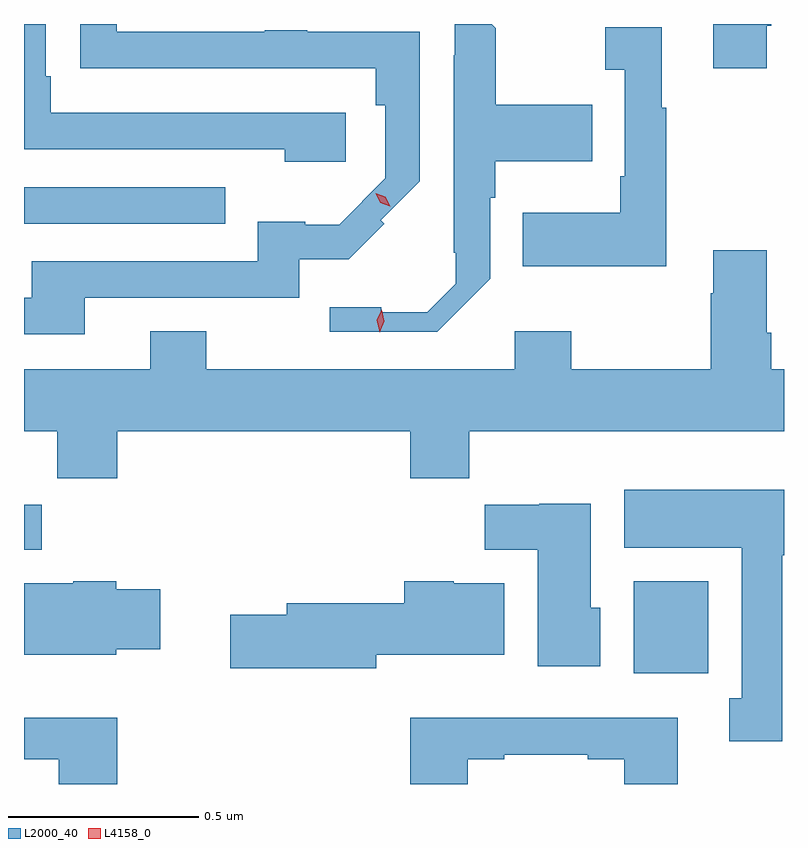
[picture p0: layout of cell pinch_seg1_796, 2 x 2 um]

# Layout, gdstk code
import gdstk
lib = gdstk.Library(unit=1e-6, precision=1e-09)
def R(c, l, rs):  # rectangles x0, y0, x1, y1
    for r in rs: c.add(gdstk.rectangle(r[:2], r[2:], *l))
def P(c, l, *ps):  # polygons
    for p in ps: c.add(gdstk.Polygon(p, *l))
L2000_40 = (2000, 40)
L4158_0 = (4158, 0)

pinch_seg1_796 = lib.new_cell('pinch_seg1_796')
R(pinch_seg1_796, L2000_40, [(614.171,552.428,614.368,552.67), (612.567,552.752,612.614,552.871), (612.567,553.611,613.097,553.707)])
P(pinch_seg1_796, L2000_40, [(614.521,554.131),(614.534,554.131),(614.534,554.136),(614.381,554.136),(614.381,554.019),(614.521,554.019)],
  [(613.414,553.902),(612.637,553.902),(612.637,553.999),(612.624,553.999),(612.624,554.136),(612.567,554.136),(612.567,553.806),(613.253,553.806),(613.253,553.773),(613.414,553.773)],
  [(612.727,553.416),(613.291,553.416),(613.291,553.517),(613.421,553.517),(613.515,553.611),(613.506,553.62),(613.608,553.722),(613.608,554.115),(613.313,554.115),(613.313,554.12),(613.201,554.12),(613.201,554.115),(612.811,554.115),(612.811,554.136),(612.715,554.136),(612.715,554.02),(612.817,554.02),(612.817,554.019),(613.492,554.019),(613.492,553.922),(613.518,553.922),(613.518,553.73),(613.396,553.608),(613.307,553.608),(613.307,553.615),(613.182,553.615),(613.182,553.512),(612.587,553.512),(612.587,553.416),(612.567,553.416),(612.567,553.32),(612.727,553.32)],
  [(613.794,553.466),(613.794,553.679),(613.807,553.679),(613.807,553.775),(614.063,553.775),(614.063,553.923),(613.809,553.923),(613.809,554.125),(613.798,554.136),(613.701,554.136),(613.701,554.054),(613.698,554.054),(613.698,553.534),(613.703,553.534),(613.703,553.453),(613.628,553.378),(613.507,553.378),(613.507,553.39),(613.371,553.39),(613.371,553.326),(613.654,553.326)],
  [(614.257,553.915),(614.245,553.915),(614.245,554.128),(614.097,554.128),(614.097,554.015),(614.148,554.015),(614.148,553.735),(614.136,553.735),(614.136,553.639),(613.879,553.639),(613.879,553.499),(614.257,553.499)],
  [(612.812,553.064),(613.583,553.064),(613.583,552.94),(613.739,552.94),(613.739,553.064),(614.567,553.064),(614.567,553.228),(614.534,553.228),(614.534,553.324),(614.521,553.324),(614.521,553.54),(614.381,553.54),(614.381,553.427),(614.374,553.427),(614.374,553.228),(614.007,553.228),(614.007,553.327),(613.859,553.327),(613.859,553.228),(613.047,553.228),(613.047,553.327),(612.899,553.327),(612.899,553.228),(612.567,553.228),(612.567,553.064),(612.655,553.064),(612.655,552.94),(612.812,552.94)],
  [(614.563,552.738),(614.567,552.738),(614.567,552.91),(614.147,552.91),(614.147,552.758),(614.456,552.758),(614.456,552.362),(614.423,552.362),(614.423,552.249),(614.563,552.249)],
  [(614.083,552.6),(614.059,552.6),(614.059,552.874),(613.923,552.874),(613.923,552.871),(613.78,552.871),(613.78,552.752),(613.919,552.752),(613.919,552.446),(614.083,552.446)],
  [(613.494,552.476),(613.831,552.476),(613.831,552.664),(613.698,552.664),(613.698,552.67),(613.568,552.67),(613.568,552.612),(613.259,552.612),(613.259,552.582),(613.11,552.582),(613.11,552.44),(613.494,552.44)],
  [(612.81,552.491),(612.925,552.491),(612.925,552.649),(612.81,552.649),(612.81,552.67),(612.696,552.67),(612.696,552.664),(612.567,552.664),(612.567,552.476),(612.81,552.476)],
  [(613.735,552.201),(613.831,552.201),(613.831,552.213),(614.051,552.213),(614.051,552.201),(614.147,552.201),(614.147,552.136),(614.287,552.136),(614.287,552.31),(613.583,552.31),(613.583,552.136),(613.735,552.136)],
  [(612.812,552.31),(612.567,552.31),(612.567,552.201),(612.659,552.201),(612.659,552.136),(612.812,552.136)])
P(pinch_seg1_796, L4158_0, [(613.503,553.325),(613.503,553.325),(613.495,553.356),(613.508,553.384),(613.508,553.384),(613.508,553.384),(613.515,553.354),(613.503,553.325)],
  [(613.53,553.656),(613.505,553.666),(613.492,553.69),(613.492,553.69),(613.492,553.69),(613.518,553.681),(613.531,553.657),(613.531,553.656)])

lib.write_gds('pinch_seg1_796.gds')
